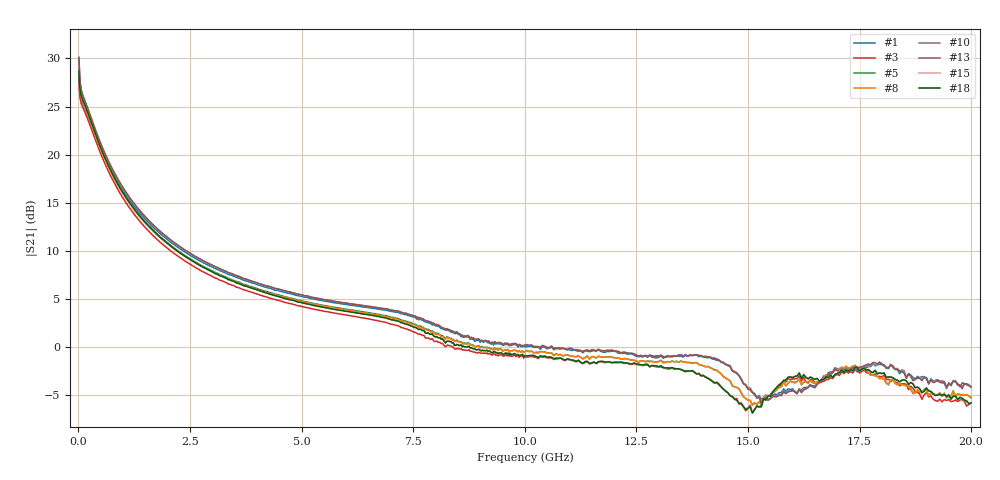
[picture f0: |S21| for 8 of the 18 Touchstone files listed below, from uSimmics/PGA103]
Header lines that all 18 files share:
!Mini-Circuits Laboratory
!S-Parameters, Port extension performed
!Model: PGA-103+
!Run / Lot / Date Code: N/A / BP170-001-01-101EV / 1210
!Fixture: TB-313
!Network Analyzer: PNA-X N5242A - 423 4 ports;  Serial number: 71013
!S/N: Unit# 1
# Hz  S  dB  R  50
!Frequency  S11 dB  S11 Deg  S21 dB  S21 Deg  S12 dB  S12 Deg  S22 dB  S22 Deg
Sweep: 10 MHz to 20 GHz
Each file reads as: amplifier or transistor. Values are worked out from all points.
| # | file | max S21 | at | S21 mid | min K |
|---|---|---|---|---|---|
| 1 | PGA-103+_2.7V_Minus45DegC.s2p | 28.8 dB | 10 MHz | 3.9 dB at 6.775 GHz | 0.41 |
| 2 | PGA-103+_2.7V_Plus25DegC.s2p | 28.4 dB | 10 MHz | 3.1 dB at 6.775 GHz | 0.38 |
| 3 | PGA-103+_2.7V_Plus85DegC.s2p | 27.6 dB | 10 MHz | 2.7 dB at 6.775 GHz | 0.46 |
| 4 | PGA-103+_3.3V_Minus45DegC.s2p | 29.4 dB | 10 MHz | 3.8 dB at 6.775 GHz | 0.36 |
| 5 | PGA-103+_3.3V_Plus25DegC.s2p | 28.9 dB | 10 MHz | 3.3 dB at 6.775 GHz | 0.51 |
| 6 | PGA-103+_3.3V_Plus85DegC.s2p | 28.0 dB | 10 MHz | 2.9 dB at 6.775 GHz | 0.55 |
| 7 | PGA-103+_3V_Minus45DegC.s2p | 29.2 dB | 10 MHz | 3.8 dB at 6.775 GHz | 0.34 |
| 8 | PGA-103+_3V_Plus25DegC.s2p | 28.7 dB | 10 MHz | 3.3 dB at 6.775 GHz | 0.48 |
| 9 | PGA-103+_3V_Plus85DegC.s2p | 27.9 dB | 10 MHz | 2.8 dB at 6.775 GHz | 0.42 |
| 10 | PGA-103+_4.75V_Minus45DegC.s2p | 30.0 dB | 10 MHz | 4.0 dB at 6.775 GHz | 0.34 |
| 11 | PGA-103+_4.75V_Plus25DegC.s2p | 29.5 dB | 10 MHz | 3.5 dB at 6.775 GHz | 0.46 |
| 12 | PGA-103+_4.75V_Plus85DegC.s2p | 28.6 dB | 10 MHz | 3.1 dB at 6.775 GHz | 0.41 |
| 13 | PGA-103+_5.25V_Minus45DegC.s2p | 30.1 dB | 10 MHz | 4.0 dB at 6.775 GHz | 0.34 |
| 14 | PGA-103+_5.25V_Plus25DegC.s2p | 29.4 dB | 10 MHz | 3.5 dB at 6.775 GHz | 0.45 |
| 15 | PGA-103+_5.25V_Plus85DegC.s2p | 28.6 dB | 10 MHz | 3.1 dB at 6.775 GHz | 0.47 |
| 16 | PGA-103+_5V_Minus45DegC.s2p | 30.2 dB | 10 MHz | 4.1 dB at 6.775 GHz | 0.41 |
| 17 | PGA-103+_5V_Plus25DegC.s2p | 29.5 dB | 10 MHz | 3.5 dB at 6.775 GHz | 0.52 |
| 18 | PGA-103+_5V_Plus85DegC.s2p | 28.6 dB | 10 MHz | 3.1 dB at 6.775 GHz | 0.38 |
